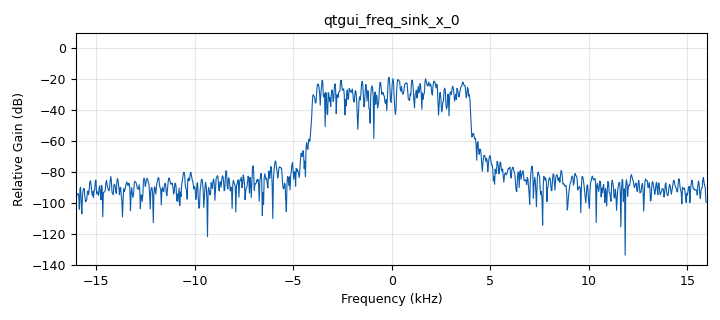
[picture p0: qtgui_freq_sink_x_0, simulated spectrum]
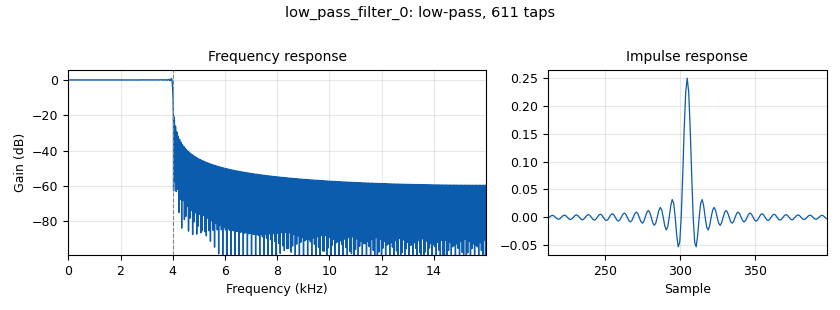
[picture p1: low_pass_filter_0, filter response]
options:
  parameters:
    author: edson
    generate_options: qt_gui
    id: multipath_channel
    output_language: python
    title: Not titled yet
  states: {}

blocks:
- name: d
  id: variable
  parameters:
    value: '10'
  states: {state: disabled}
- name: d
  id: variable_qtgui_range
  parameters:
    outputmsgname: value
    rangeType: int
    showports: 'False'
    start: '0'
    step: '1'
    stop: '100'
    value: '0'
  states: {}
- name: samp_rate
  id: variable
  parameters:
    value: '32000'
  states: {}
- name: analog_noise_source_x_0
  id: analog_noise_source_x
  parameters:
    amp: '1'
    noise_type: analog.GR_UNIFORM
    seed: '0'
    type: complex
  states: {}
- name: blocks_add_xx_0
  id: blocks_add_xx
  parameters:
    num_inputs: '5'
    type: complex
  states: {}
- name: blocks_delay_0
  id: blocks_delay
  parameters:
    delay: d
    type: complex
  states: {}
- name: blocks_delay_0_0
  id: blocks_delay
  parameters:
    delay: 2*d
    type: complex
  states: {}
- name: blocks_delay_0_1
  id: blocks_delay
  parameters:
    delay: 3*d
    type: complex
  states: {}
- name: blocks_delay_0_2
  id: blocks_delay
  parameters:
    delay: 4*d
    type: complex
  states: {}
- name: low_pass_filter_0
  id: low_pass_filter
  parameters:
    cutoff_freq: samp_rate/8
    decim: '1'
    gain: '1'
    samp_rate: samp_rate
    type: fir_filter_ccf
    width: samp_rate/640
    win: window.WIN_RECTANGULAR
  states: {}
- name: qtgui_freq_sink_x_0
  id: qtgui_freq_sink_x
  parameters:
    bw: samp_rate
    fc: '0'
    fftsize: '1024'
    type: complex
  states: {}

connections:
- [analog_noise_source_x_0, '0', low_pass_filter_0, '0']
- [blocks_add_xx_0, '0', qtgui_freq_sink_x_0, '0']
- [blocks_delay_0, '0', blocks_add_xx_0, '0']
- [blocks_delay_0_0, '0', blocks_add_xx_0, '1']
- [blocks_delay_0_1, '0', blocks_add_xx_0, '2']
- [blocks_delay_0_2, '0', blocks_add_xx_0, '3']
- [low_pass_filter_0, '0', blocks_add_xx_0, '4']
- [low_pass_filter_0, '0', blocks_delay_0, '0']
- [low_pass_filter_0, '0', blocks_delay_0_0, '0']
- [low_pass_filter_0, '0', blocks_delay_0_1, '0']
- [low_pass_filter_0, '0', blocks_delay_0_2, '0']

metadata:
  file_format: 1
  grc_version: 3.10.4.0
